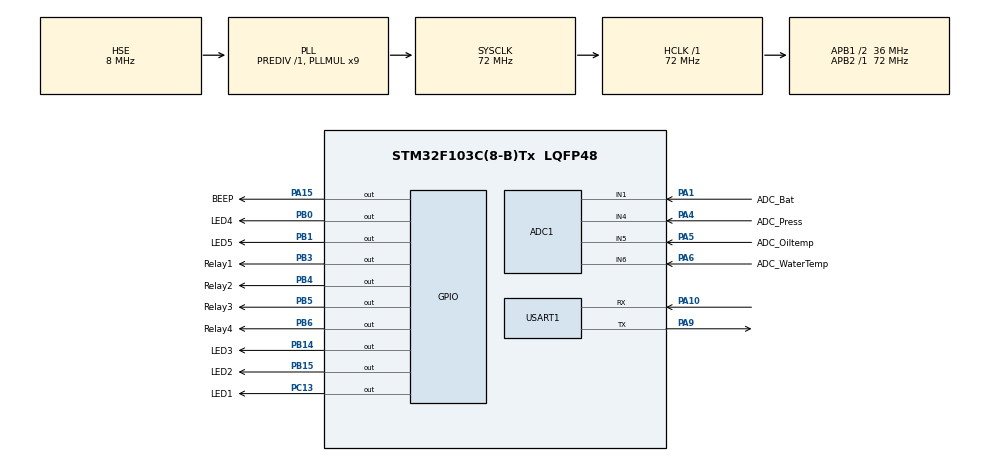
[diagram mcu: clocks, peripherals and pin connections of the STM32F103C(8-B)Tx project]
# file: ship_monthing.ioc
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ADC1.Channel-0\#ChannelRegularConversion=ADC_CHANNEL_1
ADC1.Channel-1\#ChannelRegularConversion=ADC_CHANNEL_4
ADC1.Channel-2\#ChannelRegularConversion=ADC_CHANNEL_5
ADC1.Channel-3\#ChannelRegularConversion=ADC_CHANNEL_6
ADC1.Channel-4\#ChannelInjectedConversion=ADC_CHANNEL_1
ADC1.Channel-5\#ChannelInjectedConversion=ADC_CHANNEL_1
ADC1.Channel-6\#ChannelInjectedConversion=ADC_CHANNEL_1
ADC1.Channel-7\#ChannelInjectedConversion=ADC_CHANNEL_1
ADC1.ContinuousConvMode=ENABLE
ADC1.EnableAnalogWatchDog=false
ADC1.InjNumberOfConversion=4
ADC1.InjectedOffset-4\#ChannelInjectedConversion=0
ADC1.InjectedOffset-5\#ChannelInjectedConversion=0
ADC1.InjectedOffset-6\#ChannelInjectedConversion=0
ADC1.InjectedOffset-7\#ChannelInjectedConversion=0
ADC1.NbrOfConversion=4
ADC1.NbrOfConversionFlag=1
ADC1.Rank-0\#ChannelRegularConversion=1
ADC1.Rank-1\#ChannelRegularConversion=2
ADC1.Rank-2\#ChannelRegularConversion=3
ADC1.Rank-3\#ChannelRegularConversion=4
ADC1.Rank-4\#ChannelInjectedConversion=1
ADC1.Rank-5\#ChannelInjectedConversion=2
ADC1.Rank-6\#ChannelInjectedConversion=3
ADC1.Rank-7\#ChannelInjectedConversion=4
ADC1.SamplingTime-0\#ChannelRegularConversion=ADC_SAMPLETIME_28CYCLES_5
ADC1.SamplingTime-1\#ChannelRegularConversion=ADC_SAMPLETIME_28CYCLES_5
ADC1.SamplingTime-2\#ChannelRegularConversion=ADC_SAMPLETIME_28CYCLES_5
ADC1.SamplingTime-3\#ChannelRegularConversion=ADC_SAMPLETIME_28CYCLES_5
ADC1.SamplingTime-4\#ChannelInjectedConversion=ADC_SAMPLETIME_1CYCLE_5
ADC1.SamplingTime-5\#ChannelInjectedConversion=ADC_SAMPLETIME_1CYCLE_5
ADC1.SamplingTime-6\#ChannelInjectedConversion=ADC_SAMPLETIME_1CYCLE_5
ADC1.SamplingTime-7\#ChannelInjectedConversion=ADC_SAMPLETIME_1CYCLE_5
ADC1.master=1
Dma.ADC1.0.Direction=DMA_PERIPH_TO_MEMORY
Dma.ADC1.0.Instance=DMA1_Channel1
Dma.ADC1.0.MemDataAlignment=DMA_MDATAALIGN_WORD
Dma.ADC1.0.MemInc=DMA_MINC_ENABLE
Dma.ADC1.0.Mode=DMA_CIRCULAR
Dma.ADC1.0.PeriphDataAlignment=DMA_PDATAALIGN_WORD
Dma.ADC1.0.PeriphInc=DMA_PINC_DISABLE
Dma.ADC1.0.Priority=DMA_PRIORITY_LOW
Dma.Request0=ADC1
FREERTOS.Tasks01=defaultTask,0,128,StartDefaultTask,Default,NULL,Dynamic,NULL,NULL;myTask02,-3,128,StartTask02,Default,NULL,Dynamic,NULL,NULL;dgus_poll,2,128,dgus_poll_task,Default,NULL,Dynamic,NULL,NULL
Mcu.Family=STM32F1
Mcu.Name=STM32F103C(8-B)Tx
Mcu.Package=LQFP48
NVIC.ADC1_2_IRQn=true\:5\:0\:false\:false\:true\:true\:true
NVIC.DMA1_Channel1_IRQn=true\:5\:0\:false\:false\:true\:true\:false
NVIC.PriorityGroup=NVIC_PRIORITYGROUP_4
NVIC.TIM1_UP_IRQn=true\:0\:0\:false\:false\:true\:false\:false
NVIC.TimeBase=TIM1_UP_IRQn
NVIC.TimeBaseIP=TIM1
NVIC.USART1_IRQn=true\:5\:0\:false\:false\:true\:true\:true
PA1.GPIO_Label=ADC_Bat
PA1.Signal=ADCx_IN1
PA10.Mode=Asynchronous
PA10.Signal=USART1_RX
PA13.Mode=Serial_Wire
PA13.Signal=SYS_JTMS-SWDIO
PA14.Mode=Serial_Wire
PA14.Signal=SYS_JTCK-SWCLK
PA15.GPIO_Label=BEEP
PA15.Signal=GPIO_Output
PA4.GPIO_Label=ADC_Press
PA4.Signal=ADCx_IN4
PA5.GPIO_Label=ADC_Oiltemp
PA5.Signal=ADCx_IN5
PA6.GPIO_Label=ADC_WaterTemp
PA6.Signal=ADCx_IN6
PA9.Mode=Asynchronous
PA9.Signal=USART1_TX
PB0.GPIO_Label=LED4
PB0.PinState=GPIO_PIN_SET
PB0.Signal=GPIO_Output
PB1.GPIO_Label=LED5
PB1.PinState=GPIO_PIN_SET
PB1.Signal=GPIO_Output
PB14.GPIO_Label=LED3
PB14.PinState=GPIO_PIN_SET
PB14.Signal=GPIO_Output
PB15.GPIO_Label=LED2
PB15.PinState=GPIO_PIN_SET
PB15.Signal=GPIO_Output
PB3.GPIO_Label=Relay1
PB3.Signal=GPIO_Output
PB4.GPIO_Label=Relay2
PB4.Signal=GPIO_Output
PB5.GPIO_Label=Relay3
PB5.Signal=GPIO_Output
PB6.GPIO_Label=Relay4
PB6.Signal=GPIO_Output
PC13-TAMPER-RTC.GPIO_Label=LED1
PC13-TAMPER-RTC.PinState=GPIO_PIN_SET
PC13-TAMPER-RTC.Signal=GPIO_Output
PD0-OSC_IN.Mode=HSE-External-Oscillator
PD0-OSC_IN.Signal=RCC_OSC_IN
PD1-OSC_OUT.Mode=HSE-External-Oscillator
PD1-OSC_OUT.Signal=RCC_OSC_OUT
ProjectManager.HeapSize=0x200
ProjectManager.StackSize=0x400
ProjectManager.TargetToolchain=MDK-ARM V5
RCC.ADCPresc=RCC_ADCPCLK2_DIV6
RCC.AHBFreq_Value=72000000
RCC.APB1CLKDivider=RCC_HCLK_DIV2
RCC.APB1Freq_Value=36000000
RCC.APB1TimFreq_Value=72000000
RCC.APB2Freq_Value=72000000
RCC.APB2TimFreq_Value=72000000
RCC.HCLKFreq_Value=72000000
RCC.PLLMUL=RCC_PLL_MUL9
RCC.PLLSourceVirtual=RCC_PLLSOURCE_HSE
RCC.SYSCLKFreq_VALUE=72000000
RCC.SYSCLKSource=RCC_SYSCLKSOURCE_PLLCLK
RCC.USBFreq_Value=72000000
SH.ADCx_IN1.0=ADC1_IN1,IN1
SH.ADCx_IN4.0=ADC1_IN4,IN4
SH.ADCx_IN5.0=ADC1_IN5,IN5
SH.ADCx_IN6.0=ADC1_IN6,IN6
USART1.VirtualMode=VM_ASYNC
VP_FREERTOS_VS_ENABLE.Mode=Enabled
VP_SYS_VS_tim1.Mode=TIM1
board=custom

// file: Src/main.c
/* USER CODE BEGIN Header */
/**
  ******************************************************************************
  * @file           : main.c
  * @brief          : Main program body
  ******************************************************************************
  ** This notice applies to any and all portions of this file
  * that are not between comment pairs USER CODE BEGIN and
  * USER CODE END. Other portions of this file, whether
  * inserted by the user or by software development tools
  * are owned by their respective copyright owners.
  *
  * COPYRIGHT(c) 2019 STMicroelectronics
  *
  * Redistribution and use in source and binary forms, with or without modification,
  * are permitted provided that the following conditions are met:
  *   1. Redistributions of source code must retain the above copyright notice,
  *      this list of conditions and the following disclaimer.
  *   2. Redistributions in binary form must reproduce the above copyright notice,
  *      this list of conditions and the following disclaimer in the documentation
  *      and/or other materials provided with the distribution.
  *   3. Neither the name of STMicroelectronics nor the names of its contributors
  *      may be used to endorse or promote products derived from this software
  *      without specific prior written permission.
  *
  * THIS SOFTWARE IS PROVIDED BY THE COPYRIGHT HOLDERS AND CONTRIBUTORS "AS IS"
  * AND ANY EXPRESS OR IMPLIED WARRANTIES, INCLUDING, BUT NOT LIMITED TO, THE
  * IMPLIED WARRANTIES OF MERCHANTABILITY AND FITNESS FOR A PARTICULAR PURPOSE ARE
  * DISCLAIMED. IN NO EVENT SHALL THE COPYRIGHT HOLDER OR CONTRIBUTORS BE LIABLE
  * FOR ANY DIRECT, INDIRECT, INCIDENTAL, SPECIAL, EXEMPLARY, OR CONSEQUENTIAL
  * DAMAGES (INCLUDING, BUT NOT LIMITED TO, PROCUREMENT OF SUBSTITUTE GOODS OR
  * SERVICES; LOSS OF USE, DATA, OR PROFITS; OR BUSINESS INTERRUPTION) HOWEVER
  * CAUSED AND ON ANY THEORY OF LIABILITY, WHETHER IN CONTRACT, STRICT LIABILITY,
  * OR TORT (INCLUDING NEGLIGENCE OR OTHERWISE) ARISING IN ANY WAY OUT OF THE USE
  * OF THIS SOFTWARE, EVEN IF ADVISED OF THE POSSIBILITY OF SUCH DAMAGE.
  *
  ******************************************************************************
  */
/* USER CODE END Header */

#include "main.h"
#include "cmsis_os.h"

ADC_HandleTypeDef hadc1;
DMA_HandleTypeDef hdma_adc1;

UART_HandleTypeDef huart1;

osThreadId defaultTaskHandle;
osThreadId myTask02Handle;
osThreadId dgus_pollHandle;
/* USER CODE BEGIN PV */
osThreadId testhandle;
/* USER CODE END PV */

void SystemClock_Config(void);
static void MX_GPIO_Init(void);
static void MX_DMA_Init(void);
static void MX_USART1_UART_Init(void);
static void MX_ADC1_Init(void);
void StartDefaultTask(void const *argument);
void StartTask02(void const *argument);
void dgus_poll_task(void const *argument);

int main(void)
{

  /* MCU Configuration--------------------------------------------------------*/

  /* Reset of all peripherals, Initializes the Flash interface and the Systick. */
  HAL_Init();

  /* Configure the system clock */
  SystemClock_Config();

  /* Initialize all configured peripherals */
  MX_GPIO_Init();
  MX_DMA_Init();
  MX_USART1_UART_Init();
  MX_ADC1_Init();

  /* Create the thread(s) */
  /* definition and creation of defaultTask */
  osThreadDef(defaultTask, StartDefaultTask, osPriorityNormal, 0, 128);
  defaultTaskHandle = osThreadCreate(osThread(defaultTask), NULL);

  /* definition and creation of myTask02 */
  osThreadDef(myTask02, StartTask02, osPriorityIdle, 0, 128);
  myTask02Handle = osThreadCreate(osThread(myTask02), NULL);

  /* definition and creation of dgus_poll */
  osThreadDef(dgus_poll, dgus_poll_task, osPriorityHigh, 0, 128);
  dgus_pollHandle = osThreadCreate(osThread(dgus_poll), NULL);

  /* Start scheduler */
  osKernelStart();

  /* We should never get here as control is now taken by the scheduler */

  /* Infinite loop */
  while (1)
  {
    /* USER CODE BEGIN 3 */
    osThreadTerminate(NULL);
  }
  /* USER CODE END 3 */
}

void SystemClock_Config(void)
{
  RCC_OscInitTypeDef RCC_OscInitStruct = {0};
  RCC_ClkInitTypeDef RCC_ClkInitStruct = {0};
  RCC_PeriphCLKInitTypeDef PeriphClkInit = {0};

  /**Initializes the CPU, AHB and APB busses clocks
  */
  RCC_OscInitStruct.OscillatorType = RCC_OSCILLATORTYPE_HSE;
  RCC_OscInitStruct.HSEState = RCC_HSE_ON;
  RCC_OscInitStruct.HSEPredivValue = RCC_HSE_PREDIV_DIV1;
  RCC_OscInitStruct.HSIState = RCC_HSI_ON;
  RCC_OscInitStruct.PLL.PLLState = RCC_PLL_ON;
  RCC_OscInitStruct.PLL.PLLSource = RCC_PLLSOURCE_HSE;
  RCC_OscInitStruct.PLL.PLLMUL = RCC_PLL_MUL9;
  if (HAL_RCC_OscConfig(&RCC_OscInitStruct) != HAL_OK)
  {
    Error_Handler();
  }
  /**Initializes the CPU, AHB and APB busses clocks
  */
  RCC_ClkInitStruct.ClockType = RCC_CLOCKTYPE_HCLK | RCC_CLOCKTYPE_SYSCLK | RCC_CLOCKTYPE_PCLK1 | RCC_CLOCKTYPE_PCLK2;
  RCC_ClkInitStruct.SYSCLKSource = RCC_SYSCLKSOURCE_PLLCLK;
  RCC_ClkInitStruct.AHBCLKDivider = RCC_SYSCLK_DIV1;
  RCC_ClkInitStruct.APB1CLKDivider = RCC_HCLK_DIV2;
  RCC_ClkInitStruct.APB2CLKDivider = RCC_HCLK_DIV1;

  if (HAL_RCC_ClockConfig(&RCC_ClkInitStruct, FLASH_LATENCY_2) != HAL_OK)
  {
    Error_Handler();
  }
  PeriphClkInit.PeriphClockSelection = RCC_PERIPHCLK_ADC;
  PeriphClkInit.AdcClockSelection = RCC_ADCPCLK2_DIV6;
  if (HAL_RCCEx_PeriphCLKConfig(&PeriphClkInit) != HAL_OK)
  {
    Error_Handler();
  }
}

static void MX_ADC1_Init(void)
{

  ADC_ChannelConfTypeDef sConfig = {0};
  ADC_InjectionConfTypeDef sConfigInjected = {0};

  /**Common config
  */
  hadc1.Instance = ADC1;
  hadc1.Init.ScanConvMode = ADC_SCAN_ENABLE;
  hadc1.Init.ContinuousConvMode = ENABLE;
  hadc1.Init.DiscontinuousConvMode = DISABLE;
  hadc1.Init.ExternalTrigConv = ADC_SOFTWARE_START;
  hadc1.Init.DataAlign = ADC_DATAALIGN_RIGHT;
  hadc1.Init.NbrOfConversion = 4;
  if (HAL_ADC_Init(&hadc1) != HAL_OK)
  {
    Error_Handler();
  }
  /**Configure Regular Channel
  */
  sConfig.Channel = ADC_CHANNEL_1;
  sConfig.Rank = ADC_REGULAR_RANK_1;
  sConfig.SamplingTime = ADC_SAMPLETIME_28CYCLES_5;
  if (HAL_ADC_ConfigChannel(&hadc1, &sConfig) != HAL_OK)
  {
    Error_Handler();
  }
  /**Configure Regular Channel
  */
  sConfig.Channel = ADC_CHANNEL_4;
  sConfig.Rank = ADC_REGULAR_RANK_2;
  if (HAL_ADC_ConfigChannel(&hadc1, &sConfig) != HAL_OK)
  {
    Error_Handler();
  }
  /**Configure Regular Channel
  */
  sConfig.Channel = ADC_CHANNEL_5;
  sConfig.Rank = ADC_REGULAR_RANK_3;
  if (HAL_ADC_ConfigChannel(&hadc1, &sConfig) != HAL_OK)
  {
    Error_Handler();
  }
  /**Configure Regular Channel
  */
  sConfig.Channel = ADC_CHANNEL_6;
  sConfig.Rank = ADC_REGULAR_RANK_4;
  if (HAL_ADC_ConfigChannel(&hadc1, &sConfig) != HAL_OK)
  {
    Error_Handler();
  }
  /**Configure Injected Channel
  */
  sConfigInjected.InjectedChannel = ADC_CHANNEL_1;
  sConfigInjected.InjectedRank = ADC_INJECTED_RANK_1;
  sConfigInjected.InjectedNbrOfConversion = 4;
  sConfigInjected.InjectedSamplingTime = ADC_SAMPLETIME_1CYCLE_5;
  sConfigInjected.ExternalTrigInjecConv = ADC_INJECTED_SOFTWARE_START;
  sConfigInjected.AutoInjectedConv = DISABLE;
  sConfigInjected.InjectedDiscontinuousConvMode = DISABLE;
  sConfigInjected.InjectedOffset = 0;
  if (HAL_ADCEx_InjectedConfigChannel(&hadc1, &sConfigInjected) != HAL_OK)
  {
    Error_Handler();
  }
  /**Configure Injected Channel
  */
  sConfigInjected.InjectedRank = ADC_INJECTED_RANK_2;
  if (HAL_ADCEx_InjectedConfigChannel(&hadc1, &sConfigInjected) != HAL_OK)
  {
    Error_Handler();
  }
  /**Configure Injected Channel
  */
  sConfigInjected.InjectedRank = ADC_INJECTED_RANK_3;
  if (HAL_ADCEx_InjectedConfigChannel(&hadc1, &sConfigInjected) != HAL_OK)
  {
    Error_Handler();
  }
  /**Configure Injected Channel
  */
  sConfigInjected.InjectedRank = ADC_INJECTED_RANK_4;
  if (HAL_ADCEx_InjectedConfigChannel(&hadc1, &sConfigInjected) != HAL_OK)
  {
    Error_Handler();
  }
}

static void MX_USART1_UART_Init(void)
{

  huart1.Instance = USART1;
  huart1.Init.BaudRate = 115200;
  huart1.Init.WordLength = UART_WORDLENGTH_8B;
  huart1.Init.StopBits = UART_STOPBITS_1;
  huart1.Init.Parity = UART_PARITY_NONE;
  huart1.Init.Mode = UART_MODE_TX_RX;
  huart1.Init.HwFlowCtl = UART_HWCONTROL_NONE;
  huart1.Init.OverSampling = UART_OVERSAMPLING_16;
  if (HAL_UART_Init(&huart1) != HAL_OK)
  {
    Error_Handler();
  }
}

static void MX_DMA_Init(void)
{
  /* DMA controller clock enable */
  __HAL_RCC_DMA1_CLK_ENABLE();

  /* DMA interrupt init */
  /* DMA1_Channel1_IRQn interrupt configuration */
  HAL_NVIC_SetPriority(DMA1_Channel1_IRQn, 5, 0);
  HAL_NVIC_EnableIRQ(DMA1_Channel1_IRQn);
}

static void MX_GPIO_Init(void)
{
  GPIO_InitTypeDef GPIO_InitStruct = {0};

  /* GPIO Ports Clock Enable */
  __HAL_RCC_GPIOC_CLK_ENABLE();
  __HAL_RCC_GPIOD_CLK_ENABLE();
  __HAL_RCC_GPIOA_CLK_ENABLE();
  __HAL_RCC_GPIOB_CLK_ENABLE();

  /*Configure GPIO pin Output Level */
  HAL_GPIO_WritePin(LED1_GPIO_Port, LED1_Pin, GPIO_PIN_SET);

  /*Configure GPIO pin Output Level */
  HAL_GPIO_WritePin(GPIOB, LED4_Pin | LED5_Pin | LED3_Pin | LED2_Pin, GPIO_PIN_SET);

  /*Configure GPIO pin Output Level */
  HAL_GPIO_WritePin(BEEP_GPIO_Port, BEEP_Pin, GPIO_PIN_RESET);

  /*Configure GPIO pin Output Level */
  HAL_GPIO_WritePin(GPIOB, Relay1_Pin | Relay2_Pin | Relay3_Pin | Relay4_Pin, GPIO_PIN_RESET);

  /*Configure GPIO pin : LED1_Pin */
  GPIO_InitStruct.Pin = LED1_Pin;
  GPIO_InitStruct.Mode = GPIO_MODE_OUTPUT_PP;
  GPIO_InitStruct.Pull = GPIO_NOPULL;
  GPIO_InitStruct.Speed = GPIO_SPEED_FREQ_LOW;
  HAL_GPIO_Init(LED1_GPIO_Port, &GPIO_InitStruct);

  /*Configure GPIO pins : LED4_Pin LED5_Pin LED3_Pin LED2_Pin
                           Relay1_Pin Relay2_Pin Relay3_Pin Relay4_Pin */
  GPIO_InitStruct.Pin = LED4_Pin | LED5_Pin | LED3_Pin | LED2_Pin | Relay1_Pin | Relay2_Pin | Relay3_Pin | Relay4_Pin;
  GPIO_InitStruct.Mode = GPIO_MODE_OUTPUT_PP;
  GPIO_InitStruct.Pull = GPIO_NOPULL;
  GPIO_InitStruct.Speed = GPIO_SPEED_FREQ_LOW;
  HAL_GPIO_Init(GPIOB, &GPIO_InitStruct);

  /*Configure GPIO pin : BEEP_Pin */
  GPIO_InitStruct.Pin = BEEP_Pin;
  GPIO_InitStruct.Mode = GPIO_MODE_OUTPUT_PP;
  GPIO_InitStruct.Pull = GPIO_NOPULL;
  GPIO_InitStruct.Speed = GPIO_SPEED_FREQ_LOW;
  HAL_GPIO_Init(BEEP_GPIO_Port, &GPIO_InitStruct);
}

void StartDefaultTask(void const *argument)
{

  for (;;)
  {
    osDelay(1);
  }
}

void StartTask02(void const *argument)
{
  /* USER CODE BEGIN StartTask02 */
  /* Infinite loop */
  for (;;)
  {
    LED1_ON;
    LED2_ON;
    LED3_ON;
    LED4_ON;
    LED5_ON;
    osDelay(200);
    LED1_OFF;
    LED2_OFF;
    LED3_OFF;
    LED4_OFF;
    LED5_OFF;
    osDelay(200);
  }
  /* USER CODE END StartTask02 */
}

void dgus_poll_task(void const *argument)
{
  /* USER CODE BEGIN dgus_poll_task */
  dgus_init(&huart1);
  /* Infinite loop */
  for (;;)
  {
    dgus_poll();
    osDelay(10);
  }
  /* USER CODE END dgus_poll_task */
}

void HAL_TIM_PeriodElapsedCallback(TIM_HandleTypeDef *htim)
{
  if (htim->Instance == TIM1)
  {
    HAL_IncTick();
  }
}

void Error_Handler(void)
{
}

/************************ (C) COPYRIGHT STMicroelectronics *****END OF FILE****/
